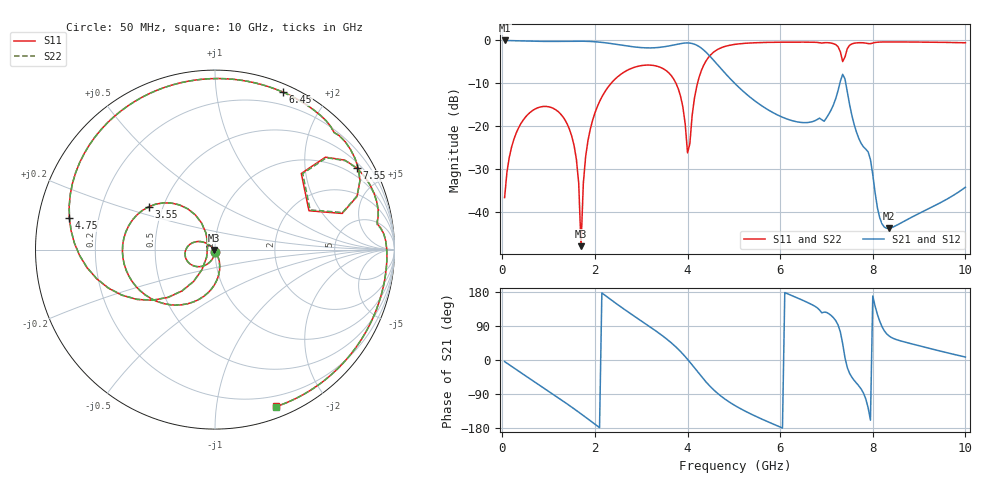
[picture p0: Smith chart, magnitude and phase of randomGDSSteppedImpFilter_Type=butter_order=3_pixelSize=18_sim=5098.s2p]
! freq	dB(S11)	phase(S11)	dB(S12)	phase(S12)
!  dB(S21)	phase(S21)	dB(S22)	phase(S22)
!S-par simulation data
#  GHz  S  DB  R 50
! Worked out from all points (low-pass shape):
!   200 points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, 50 MHz to 10 GHz, reference 50 ohm
!   highest |S21| = -0.01 dB at 50 MHz (marker M1); lowest = -43.8 dB at 8.35 GHz (marker M2)
!   |S21| within 3 dB of the highest: start of sweep to 4.424 GHz
!   lowest |S11| = -48.0 dB at 1.7 GHz (marker M3), VSWR 1.01, Z = 49.6 - j0.167 ohm
!   |S11| at or under -10 dB: start of sweep to 2.35 GHz; 3.751 GHz to 4.215 GHz (464.4 MHz wide, 11.7 % of centre)
!   |S22| runs from -47.2 to -0.4 dB; largest |S21 - S12| = 0
!   S11 on the Smith chart (normalised r, x): 50 MHz: 1.00, -0.03; 3.55 GHz: 0.42, +0.25; 4.75 GHz: 0.09, +0.11; 6.45 GHz: 0.08, +1.52; 7.55 GHz: 0.67, +3.63; 10 GHz: 0.10, -1.46
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0.05  -36.64 -92.6  -0.01 -4.3  -0.01 -4.3  -36.64 -92.6
0.4  -19.43 -123.5  -0.10 -33.3  -0.10 -33.3  -19.43 -123.5
1.15  -16.14 175.2  -0.23 -94.8  -0.23 -94.8  -16.14 175.3
1.55  -24.51 143.5  -0.18 -128.8  -0.18 -128.8  -24.50 143.8
1.65  -33.27 140.8  -0.18 -137.6  -0.18 -137.6  -33.23 141.8
1.7  -47.98 -155.1  -0.18 -142.1  -0.18 -142.1  -47.17 -153.9
1.75  -33.32 -67.2  -0.19 -146.6  -0.19 -146.6  -33.30 -68.4
1.9  -20.70 -73.3  -0.24 -160.2  -0.24 -160.2  -20.70 -73.6
2.25  -11.41 -103.7  -0.59 167.8  -0.59 167.8  -11.41 -103.8
3.4  -6.22 160.3  -1.62 69.3  -1.62 69.3  -6.22 160.2
3.55  -7.14 147.1  -1.38 55.3  -1.38 55.3  -7.14 147.1
3.85  -13.04 119.6  -0.74 22.2  -0.74 22.2  -13.03 119.6
4  -26.22 145.3  -0.59 1.9  -0.59 1.9  -26.14 145.6
4.25  -8.57 -134.4  -1.43 -36.2  -1.43 -36.2  -8.57 -134.6
4.75  -1.62 167.8  -6.91 -97.9  -6.91 -97.9  -1.62 167.7
5.05  -0.88 143.8  -10.33 -122.0  -10.33 -122.0  -0.88 143.7
6.45  -0.39 66.7  -19.12 159.6  -19.12 159.6  -0.39 66.6
6.7  -0.42 54.3  -18.93 145.2  -18.93 145.2  -0.42 54.3
7.35  -4.94 22.5  -7.91 43.1  -7.91 43.1  -4.82 22.6
7.55  -0.80 29.9  -17.54 -45.9  -17.54 -45.9  -0.79 29.7
8.35  -0.35 -8.3  -43.82 63.6  -43.82 63.6  -0.35 -8.3
10  -0.55 -68.6  -34.24 7.8  -34.24 7.8  -0.55 -68.7
